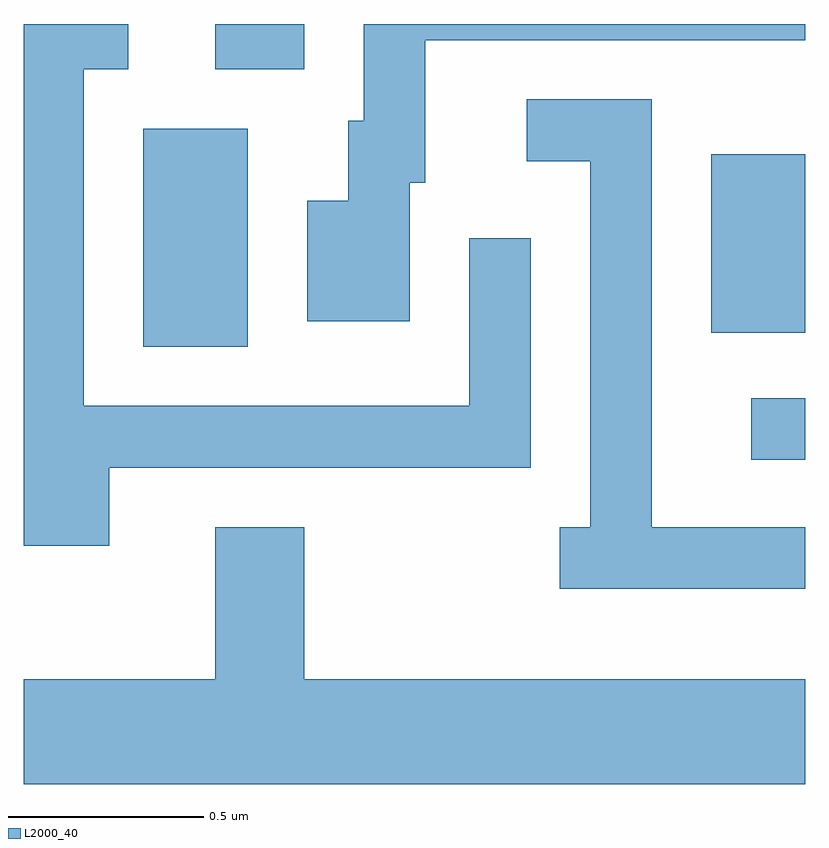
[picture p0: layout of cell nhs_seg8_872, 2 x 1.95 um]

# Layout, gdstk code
import gdstk
lib = gdstk.Library(unit=1e-6, precision=1e-09)
def R(c, l, rs):  # rectangles x0, y0, x1, y1
    for r in rs: c.add(gdstk.rectangle(r[:2], r[2:], *l))
def P(c, l, *ps):  # polygons
    for p in ps: c.add(gdstk.Polygon(p, *l))
L2000_40 = (2000, 40)

nhs_seg8_872 = lib.new_cell('nhs_seg8_872')
R(nhs_seg8_872, L2000_40, [(193.473,1857.226,193.611,1857.384), (191.916,1857.516,192.184,1858.074), (193.371,1857.551,193.611,1858.009), (192.101,1858.226,192.329,1858.342)])
P(nhs_seg8_872, L2000_40, [(192.599,1857.936),(192.639,1857.936),(192.639,1858.301),(193.611,1858.301),(193.611,1858.342),(192.481,1858.342),(192.481,1858.094),(192.441,1858.094),(192.441,1857.889),(192.336,1857.889),(192.336,1857.581),(192.599,1857.581)],
  [(191.829,1857.206),(192.909,1857.206),(192.909,1857.793),(192.751,1857.793),(192.751,1857.364),(191.764,1857.364),(191.764,1858.226),(191.878,1858.226),(191.878,1858.342),(191.611,1858.342),(191.611,1857.006),(191.829,1857.006)],
  [(193.611,1857.054),(193.219,1857.054),(193.219,1858.149),(192.898,1858.149),(192.898,1857.991),(193.061,1857.991),(193.061,1857.054),(192.983,1857.054),(192.983,1856.896),(193.611,1856.896)],
  [(193.611,1856.664),(192.329,1856.664),(192.329,1857.054),(192.101,1857.054),(192.101,1856.664),(191.611,1856.664),(191.611,1856.396),(193.611,1856.396)])

lib.write_gds('nhs_seg8_872.gds')
